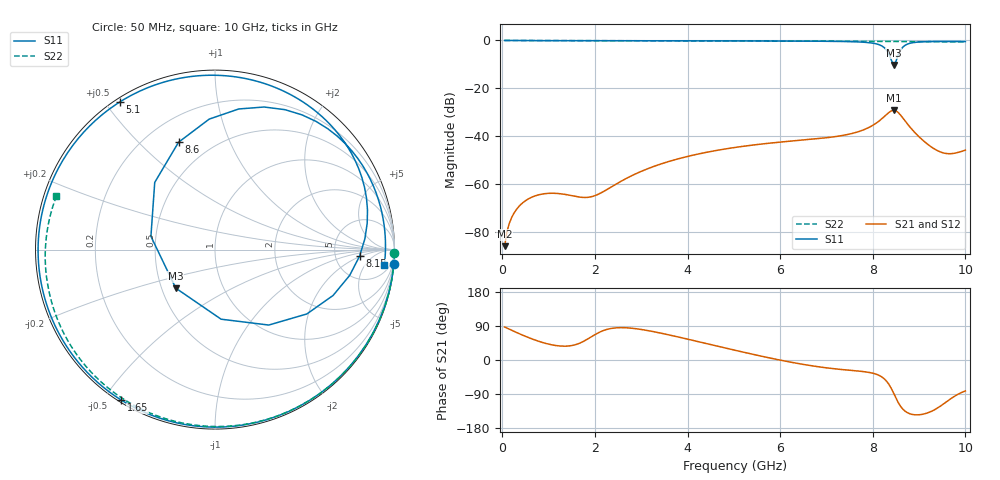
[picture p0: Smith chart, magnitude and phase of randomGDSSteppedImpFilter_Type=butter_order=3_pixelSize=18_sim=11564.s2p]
! freq	dB(S11)	phase(S11)	dB(S12)	phase(S12)
!  dB(S21)	phase(S21)	dB(S22)	phase(S22)
!S-par simulation data
#  GHz  S  DB  R 50
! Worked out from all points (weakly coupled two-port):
!   200 points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, 50 MHz to 10 GHz, reference 50 ohm
!   highest |S21| = -29.17 dB at 8.45 GHz (marker M1); lowest = -86.0 dB at 50 MHz (marker M2)
!   lowest |S11| = -10.3 dB at 8.45 GHz (marker M3), VSWR 1.88, Z = 29.6 - j14 ohm
!   |S11| at or under -10 dB: 8.443371 GHz to 8.459125 GHz (15.75 MHz wide, 0.186 % of centre)
!   |S22| runs from -0.6 to 0.0 dB; largest |S21 - S12| = 0
!   S11 on the Smith chart (normalised r, x): 50 MHz: 0, -24; 1.65 GHz: 0.01, -0.56; 5.1 GHz: 0.01, +0.55; 8.15 GHz: 8.93, -1.87; 8.6 GHz: 0.33, +0.66; 10 GHz: 10, -16
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0.05  -0.00 -4.7  -85.99 87.1  -85.99 87.1  -0.00 -1.2
0.35  -0.05 -32.1  -69.58 70.3  -69.58 70.3  -0.01 -8.0
0.8  -0.08 -69.1  -64.46 48.8  -64.46 48.8  -0.02 -18.2
1.2  -0.10 -96.6  -63.97 37.5  -63.97 37.5  -0.03 -27.2
1.65  -0.11 -121.9  -65.41 43.4  -65.41 43.4  -0.05 -37.2
1.75  -0.11 -126.8  -65.62 48.9  -65.62 48.9  -0.05 -39.4
2.5  -0.12 -158.4  -59.57 85.2  -59.57 85.2  -0.07 -55.5
3.4  -0.13 171.6  -51.79 71.5  -51.79 71.5  -0.10 -74.1
5.05  -0.18 124.1  -44.65 25.0  -44.65 25.0  -0.16 -106.2
5.1  -0.19 122.7  -44.52 23.6  -44.52 23.6  -0.16 -107.1
6.7  -0.30 74.8  -41.26 -15.6  -41.26 -15.6  -0.26 -136.4
7.6  -0.55 40.2  -38.64 -28.2  -38.64 -28.2  -0.34 -152.6
8.15  -1.87 -2.6  -33.46 -41.4  -33.46 -41.4  -0.39 -162.7
8.25  -3.03 -21.2  -31.79 -49.9  -31.79 -49.9  -0.40 -164.5
8.35  -5.74 -54.5  -30.08 -64.5  -30.08 -64.5  -0.41 -166.4
8.45  -10.28 -135.5  -29.17 -87.4  -29.17 -87.4  -0.42 -168.2
8.5  -8.76 168.3  -29.41 -100.4  -29.41 -100.4  -0.43 -169.1
8.6  -3.99 108.7  -31.20 -122.2  -31.20 -122.2  -0.44 -171.0
8.75  -1.51 71.0  -34.94 -139.2  -34.94 -139.2  -0.45 -173.9
9.05  -0.58 39.2  -41.19 -143.8  -41.19 -143.8  -0.49 -179.6
9.55  -0.42 12.5  -47.12 -113.9  -47.12 -113.9  -0.55 170.6
10  -0.47 -5.2  -45.83 -81.7  -45.83 -81.7  -0.61 161.5
